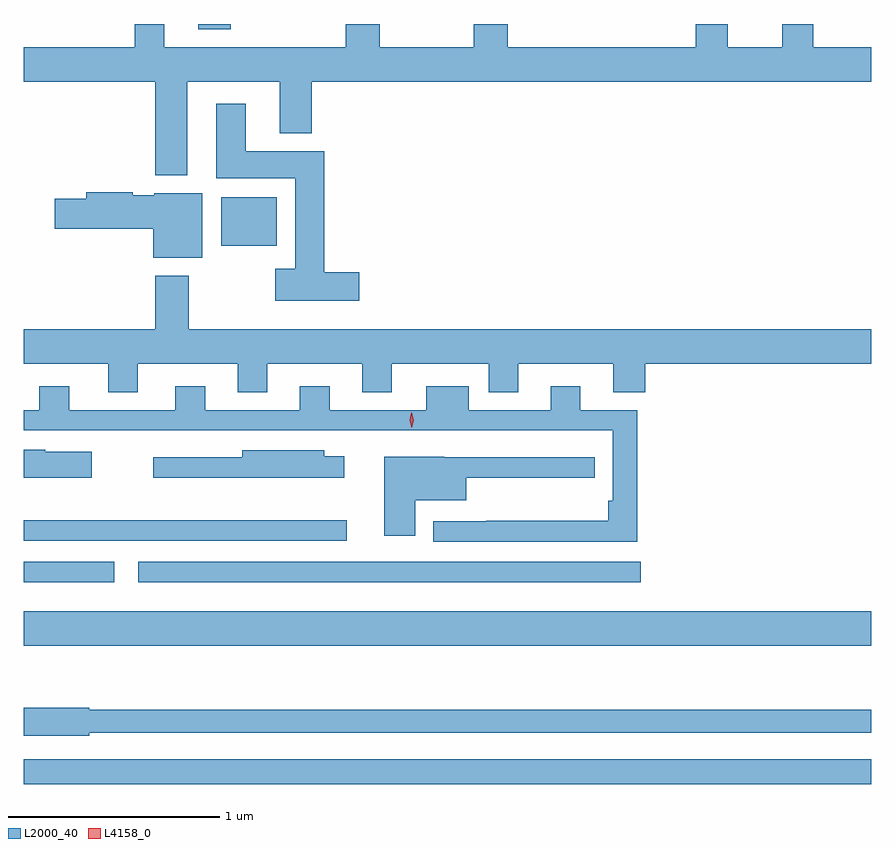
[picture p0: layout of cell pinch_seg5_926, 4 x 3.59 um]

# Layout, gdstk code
import gdstk
lib = gdstk.Library(unit=1e-6, precision=1e-09)
def R(c, l, rs):  # rectangles x0, y0, x1, y1
    for r in rs: c.add(gdstk.rectangle(r[:2], r[2:], *l))
def P(c, l, *ps):  # polygons
    for p in ps: c.add(gdstk.Polygon(p, *l))
L2000_40 = (2000, 40)
L4158_0 = (4158, 0)

pinch_seg5_926 = lib.new_cell('pinch_seg5_926')
R(pinch_seg5_926, L2000_40, [(656.92,905.392,660.92,905.508), (656.92,906.044,660.92,906.208), (656.92,906.344,657.346,906.441), (657.459,906.344,659.833,906.441), (656.92,906.54,658.444,906.638), (657.851,907.934,658.114,908.164), (657.743,908.957,657.896,908.981), (657.169,908.979,657.286,908.981)])
P(pinch_seg5_926, L2000_40, [(657.443,908.981),(657.443,908.872),(656.92,908.872),(656.92,908.708),(657.539,908.708),(657.539,908.267),(657.691,908.267),(657.691,908.708),(658.127,908.708),(658.127,908.465),(658.28,908.465),(658.28,908.708),(660.92,908.708),(660.92,908.872),(660.648,908.872),(660.648,908.981),(660.5,908.981),(660.5,908.872),(660.244,908.872),(660.244,908.981),(660.092,908.981),(660.092,908.872),(659.204,908.872),(659.204,908.981),(659.044,908.981),(659.044,908.872),(658.599,908.872),(658.599,908.981),(658.439,908.981),(658.439,908.872),(657.583,908.872),(657.583,908.981)],
  [(658.504,907.808),(658.337,907.808),(658.337,908.38),(657.967,908.38),(657.967,908.605),(657.827,908.605),(657.827,908.252),(658.202,908.252),(658.202,907.825),(658.107,907.825),(658.107,907.673),(658.504,907.673)],
  [(657.763,908.182),(657.534,908.182),(657.534,908.173),(657.434,908.173),(657.434,908.186),(657.215,908.186),(657.215,908.156),(657.066,908.156),(657.066,908.014),(657.53,908.014),(657.53,907.877),(657.763,907.877)],
  [(657.457,907.376),(657.929,907.376),(657.929,907.243),(658.069,907.243),(658.069,907.376),(658.517,907.376),(658.517,907.243),(658.657,907.243),(658.657,907.376),(659.114,907.376),(659.114,907.243),(659.254,907.243),(659.254,907.376),(659.702,907.376),(659.702,907.243),(659.855,907.243),(659.855,907.376),(660.92,907.376),(660.92,907.54),(657.699,907.54),(657.699,907.792),(657.539,907.792),(657.539,907.54),(656.92,907.54),(656.92,907.376),(657.317,907.376),(657.317,907.243),(657.457,907.243)],
  [(659.816,907.158),(659.548,907.158),(659.548,907.27),(659.408,907.27),(659.408,907.158),(659.02,907.158),(659.02,907.27),(658.82,907.27),(658.82,907.158),(658.363,907.158),(658.363,907.27),(658.223,907.27),(658.223,907.158),(657.775,907.158),(657.775,907.27),(657.635,907.27),(657.635,907.158),(657.133,907.158),(657.133,907.27),(656.993,907.27),(656.993,907.158),(656.92,907.158),(656.92,907.062),(659.7,907.062),(659.7,906.73),(659.68,906.73),(659.68,906.635),(659.104,906.635),(659.104,906.633),(658.853,906.633),(658.853,906.537),(659.816,906.537)],
  [(657.241,906.961),(657.021,906.961),(657.021,906.97),(656.92,906.97),(656.92,906.839),(657.241,906.839)],
  [(658.432,906.94),(658.338,906.94),(658.338,906.967),(657.95,906.967),(657.95,906.936),(657.531,906.936),(657.531,906.839),(658.432,906.839)],
  [(658.768,906.731),(659.008,906.731),(659.008,906.839),(659.615,906.839),(659.615,906.935),(659.504,906.935),(659.504,906.936),(658.904,906.936),(658.904,906.937),(658.622,906.937),(658.622,906.564),(658.768,906.564)],
  [(657.228,905.634),(660.92,905.634),(660.92,905.743),(657.228,905.743),(657.228,905.751),(656.92,905.751),(656.92,905.621),(657.228,905.621)])
P(pinch_seg5_926, L4158_0, [(658.752,907.075),(658.752,907.075),(658.741,907.11),(658.749,907.145),(658.749,907.145),(658.75,907.145),(658.761,907.11),(658.752,907.075)])

lib.write_gds('pinch_seg5_926.gds')
